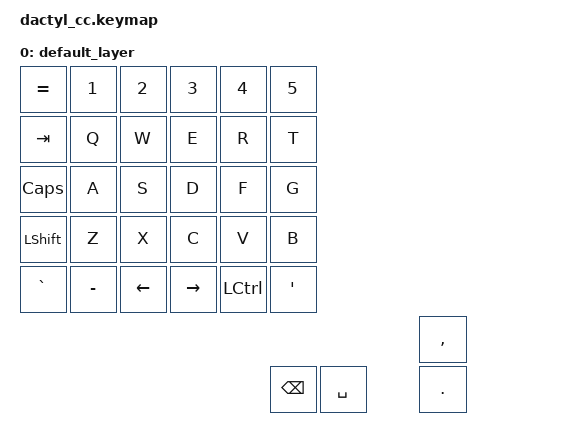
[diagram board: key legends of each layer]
#include <behaviors.dtsi>
#include <dt-bindings/zmk/keys.h>

/ {
    keymap {
        compatible = "zmk,keymap";


        default_layer {
            bindings = <
&kp EQUAL  &kp N1 &kp N2 &kp N3 &kp N4 &kp N5
&kp TAB    &kp Q  &kp W  &kp E  &kp R  &kp T
&kp CAPS   &kp A  &kp S  &kp D  &kp F  &kp G
&kp LSHIFT &kp Z  &kp X  &kp C  &kp V  &kp B
        &kp GRAVE &kp MINUS &kp LEFT &kp RIGHT   &kp LCTRL &kp SQT
                                                            &kp COMMA 
                                        &kp BSPC &kp SPACE &kp DOT
            >;
        };
    };
};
